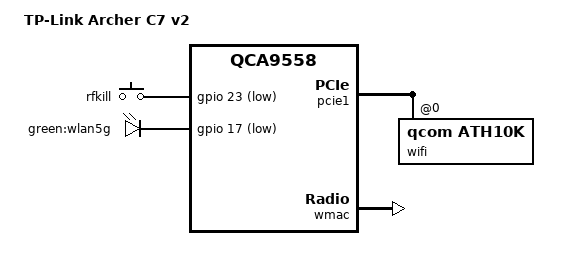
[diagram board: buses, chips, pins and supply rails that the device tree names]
// SPDX-License-Identifier: GPL-2.0-or-later OR MIT

#include "qca9558_tplink_archer-c.dtsi"

/ {
	compatible = "tplink,archer-c7-v2", "qca,qca9558";
	model = "TP-Link Archer C7 v2";

	aliases {
		label-mac-device = &eth1;
	};
};

&keys {
	rfkill {
		gpios = <&gpio 23 GPIO_ACTIVE_LOW>;
		linux,code = <KEY_RFKILL>;
		linux,input-type = <EV_SW>;
		debounce-interval = <60>;
	};
};

&leds {
	wlan5g {
		label = "green:wlan5g";
		gpios = <&gpio 17 GPIO_ACTIVE_LOW>;
		linux,default-trigger = "phy0tpt";
	};
};

&mtdparts {
	uboot: partition@0 {
		label = "u-boot";
		reg = <0x000000 0x020000>;
		read-only;
	};

	partition@20000 {
		label = "firmware";
		reg = <0x020000 0xfd0000>;
		compatible = "tplink,firmware";
	};

	art: partition@ff0000 {
		label = "art";
		reg = <0xff0000 0x010000>;
		read-only;

		compatible = "nvmem-cells";
		#address-cells = <1>;
		#size-cells = <1>;

		calibration_art_1000: calibration@1000 {
			reg = <0x1000 0x440>;
		};

		calibration_art_5000: calibration@5000 {
			reg = <0x5000 0x844>;
		};
	};
};

&eth0 {
	nvmem-cells = <&macaddr_uboot_1fc00>;
	nvmem-cell-names = "mac-address";
	mac-address-increment = <1>;
};

&eth1 {
	nvmem-cells = <&macaddr_uboot_1fc00>;
	nvmem-cell-names = "mac-address";
};

&pcie1 {
	status = "okay";

	wifi@0,0 {
		compatible = "qcom,ath10k";
		reg = <0 0 0 0 0>;

		mac-address-increment = <(-1)>;
		nvmem-cells = <&macaddr_uboot_1fc00>, <&calibration_art_5000>;
		nvmem-cell-names = "mac-address", "calibration";
	};
};

&wmac {
	nvmem-cells = <&macaddr_uboot_1fc00>, <&calibration_art_1000>;
	nvmem-cell-names = "mac-address", "calibration";
};

&uboot {
	compatible = "nvmem-cells";
	#address-cells = <1>;
	#size-cells = <1>;

	macaddr_uboot_1fc00: macaddr@1fc00 {
		reg = <0x1fc00 0x6>;
	};
};
